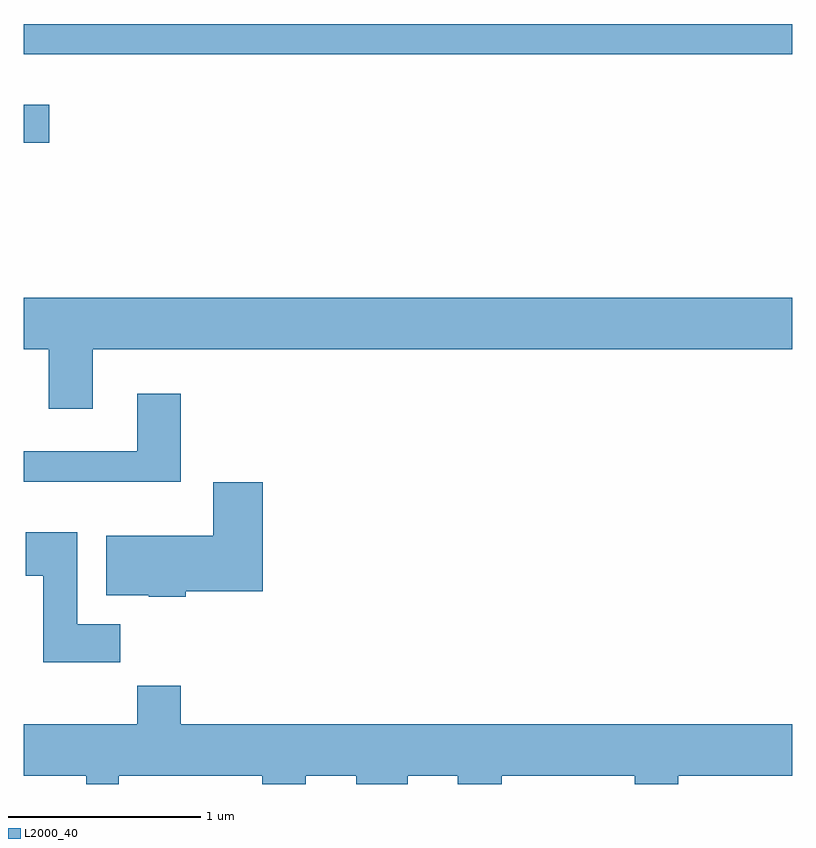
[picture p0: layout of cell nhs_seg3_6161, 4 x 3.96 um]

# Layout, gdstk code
import gdstk
lib = gdstk.Library(unit=1e-6, precision=1e-09)
def R(c, l, rs):  # rectangles x0, y0, x1, y1
    for r in rs: c.add(gdstk.rectangle(r[:2], r[2:], *l))
def P(c, l, *ps):  # polygons
    for p in ps: c.add(gdstk.Polygon(p, *l))
L2000_40 = (2000, 40)

nhs_seg3_6161 = lib.new_cell('nhs_seg3_6161')
R(nhs_seg3_6161, L2000_40, [(365.611,1209.231,365.744,1209.429), (365.611,1209.691,369.611,1209.849)])
P(nhs_seg3_6161, L2000_40, [(365.969,1208.156),(369.611,1208.156),(369.611,1208.424),(365.611,1208.424),(365.611,1208.156),(365.741,1208.156),(365.741,1207.846),(365.969,1207.846)],
  [(366.429,1207.924),(366.201,1207.924),(366.201,1207.624),(365.611,1207.624),(365.611,1207.466),(366.429,1207.466)],
  [(366.454,1206.896),(366.854,1206.896),(366.854,1207.464),(366.596,1207.464),(366.596,1207.184),(366.041,1207.184),(366.041,1206.876),(366.26,1206.876),(366.26,1206.866),(366.454,1206.866)],
  [(366.114,1206.724),(365.889,1206.724),(365.889,1207.204),(365.621,1207.204),(365.621,1206.976),(365.711,1206.976),(365.711,1206.526),(366.114,1206.526)],
  [(366.429,1206.404),(366.201,1206.404),(366.201,1206.204),(365.611,1206.204),(365.611,1205.936),(365.936,1205.936),(365.936,1205.892),(366.104,1205.892),(366.104,1205.936),(366.851,1205.936),(366.851,1205.892),(367.079,1205.892),(367.079,1205.936),(367.341,1205.936),(367.341,1205.892),(367.609,1205.892),(367.609,1205.936),(367.871,1205.936),(367.871,1205.892),(368.099,1205.892),(368.099,1205.936),(368.791,1205.936),(368.791,1205.892),(369.019,1205.892),(369.019,1205.936),(369.611,1205.936),(369.611,1206.204),(366.429,1206.204)])

lib.write_gds('nhs_seg3_6161.gds')
